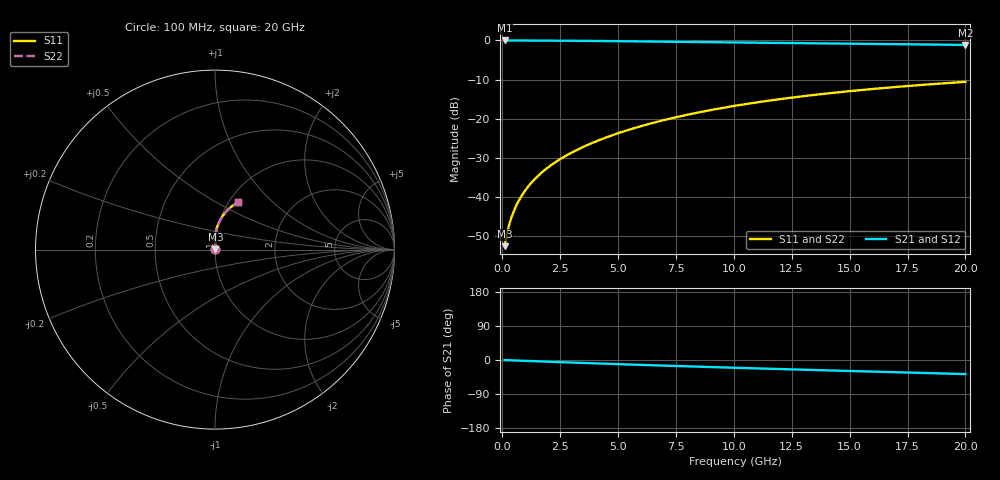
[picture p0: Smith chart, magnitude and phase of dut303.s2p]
! Touchstone file exported from HFSS 2024.1.0
!  File:  C:/UserFiles/LocalFiles/RDL_TSV_Batchsim/temp_RDL_top_303_1779606199.aedt
!  Generated:  03:05:54 PM May 24, 2026
!  Design:  RDL_top
!  Project:  temp_RDL_top_303_1779606199
!  Setup:  Setup1
!  Solution:  Sweep
! Variables:
!  dtsv = 10.80580581um
!  hbump = 3um
!  htsv = 82.28um
!  ldown = 100um
!  lrdl = 550.03um
!  p = 40
!  p1 = 50.55um
!  rhole = 1um
!  t = 450um
!  tdown = 3.915915916um
!  trdl = 4.37um
!  wdown = 15.38538539um
!  wrdl = 26.46um
# GHz S MA R 50.000000
! Terminal data exported
! Port[1] = Box2_T1
! Port[2] = Box2_T2
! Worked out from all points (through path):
!   200 points, 100 MHz to 20 GHz, reference 50 ohm
!   highest |S21| = -0.02 dB at 100 MHz (marker M1); lowest = -1.2 dB at 20 GHz (marker M2)
!   group delay of S21, straight-line fit = 5.08 ps
!   lowest |S11| = -52.6 dB at 100 MHz (marker M3), VSWR 1.00, Z = 50.2 + j0.139 ohm
!   |S11| at or under -10 dB: start of sweep to end of sweep
!   |S22| runs from -52.6 to -10.6 dB; largest |S21 - S12| = 2.7e-15
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0.1  0.002353 36.2  0.9981 -0.2  0.9981 -0.2  0.002353 36.2
! Gamma 0 0 0 0
! Port Impedance 50 0 50 0
0.2  0.00337 52.8  0.9979 -0.5  0.9979 -0.5  0.00337 52.8
0.3  0.004454 60.9  0.9977 -0.7  0.9977 -0.7  0.004454 60.9
0.4  0.005535 65.9  0.9975 -0.9  0.9975 -0.9  0.005536 65.9
0.5  0.00662 69.6  0.9974 -1.2  0.9974 -1.2  0.006621 69.6
0.6  0.007715 72.4  0.9972 -1.4  0.9972 -1.4  0.007716 72.4
0.8  0.009943 76.4  0.9969 -1.8  0.9969 -1.8  0.009944 76.4
1.1  0.01337 80.3  0.9963 -2.5  0.9963 -2.5  0.01337 80.3
1.3  0.01571 82.0  0.9958 -3.0  0.9958 -3.0  0.01571 82.0
1.6  0.01928 84.0  0.9949 -3.7  0.9949 -3.7  0.01928 84.0
2.1  0.02539 86.1  0.9932 -4.8  0.9932 -4.8  0.02539 86.1
2.7  0.03301 87.7  0.9906 -6.1  0.9906 -6.1  0.033 87.7
3.5  0.04366 88.8  0.9864 -7.8  0.9864 -7.8  0.04365 88.8
4.2  0.05345 89.2  0.9822 -9.3  0.9822 -9.3  0.05343 89.2
5  0.06513 89.2  0.977 -11.0  0.977 -11.0  0.06511 89.1
6.8  0.09302 87.7  0.9645 -14.5  0.9645 -14.5  0.09296 87.7
8.4  0.119 85.4  0.9532 -17.5  0.9532 -17.5  0.1189 85.4
10.1  0.1469 82.5  0.9412 -20.6  0.9412 -20.6  0.1468 82.4
11.7  0.173 79.5  0.9302 -23.4  0.9302 -23.4  0.1728 79.4
13.4  0.2001 76.2  0.9186 -26.3  0.9186 -26.3  0.1999 76.1
16.7  0.2499 69.9  0.8967 -31.8  0.8967 -31.8  0.2497 69.8
20  0.2952 63.8  0.8752 -37.1  0.8752 -37.1  0.295 63.8
